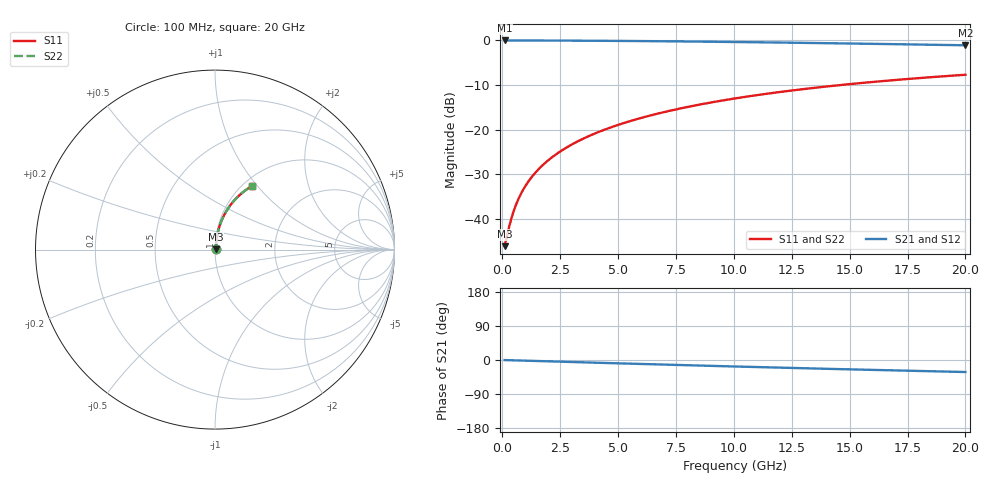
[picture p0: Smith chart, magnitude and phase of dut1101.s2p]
! Touchstone file exported from HFSS 2024.1.0
!  File:  C:/UserFiles/LocalFiles/RDL_TSV_Batchsim/temp_RDL_top_1101_1780046326.aedt
!  Generated:  05:20:56 PM May 29, 2026
!  Design:  RDL_top
!  Project:  temp_RDL_top_1101_1780046326
!  Setup:  Setup1
!  Solution:  Sweep
! Variables:
!  dtsv = 10.80580581um
!  hbump = 3um
!  htsv = 96.35um
!  ldown = 100um
!  lrdl = 333.96um
!  p = 40
!  p1 = 55.93um
!  rhole = 1um
!  t = 450um
!  tdown = 3.915915916um
!  trdl = 2.66um
!  wdown = 15.38538539um
!  wrdl = 10.36um
# GHz S MA R 50.000000
! Terminal data exported
! Port[1] = Box2_T1
! Port[2] = Box2_T2
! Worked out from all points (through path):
!   200 points, 100 MHz to 20 GHz, reference 50 ohm
!   highest |S21| = -0.04 dB at 100 MHz (marker M1); lowest = -1.1 dB at 20 GHz (marker M2)
!   group delay of S21, straight-line fit = 4.41 ps
!   lowest |S11| = -46.0 dB at 100 MHz (marker M3), VSWR 1.01, Z = 50.4 + j0.235 ohm
!   |S11| at or under -10 dB: start of sweep to 14.62 GHz
!   |S22| runs from -46.0 to -7.7 dB; largest |S21 - S12| = 2e-15
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0.1  0.004992 27.8  0.9956 -0.2  0.9956 -0.2  0.004992 27.8
! Gamma 0 0 0 0
! Port Impedance 50 0 50 0
0.3  0.008308 57.1  0.9955 -0.5  0.9955 -0.5  0.008308 57.1
0.4  0.01036 63.7  0.9954 -0.7  0.9954 -0.7  0.01036 63.7
0.5  0.0125 67.9  0.9953 -0.9  0.9953 -0.9  0.0125 67.9
0.6  0.01468 70.9  0.9952 -1.1  0.9952 -1.1  0.01468 70.9
0.7  0.01689 73.0  0.9951 -1.3  0.9951 -1.3  0.01688 73.0
0.9  0.02133 75.9  0.9949 -1.6  0.9949 -1.6  0.02132 75.9
1.2  0.02802 78.3  0.9945 -2.2  0.9945 -2.2  0.02801 78.3
1.4  0.03248 79.3  0.9942 -2.5  0.9942 -2.5  0.03248 79.3
1.7  0.03919 80.2  0.9938 -3.0  0.9938 -3.0  0.03918 80.2
2.2  0.05039 81.0  0.9928 -3.9  0.9928 -3.9  0.05038 81.0
2.8  0.06385 81.3  0.9915 -5.0  0.9915 -5.0  0.06385 81.3
3.5  0.07958 81.2  0.9896 -6.2  0.9896 -6.2  0.07958 81.2
4.2  0.0953 80.7  0.9873 -7.4  0.9873 -7.4  0.0953 80.7
5  0.1132 80.0  0.9843 -8.8  0.9843 -8.8  0.1132 80.0
5.9  0.1334 79.0  0.9804 -10.3  0.9804 -10.3  0.1334 79.0
6.8  0.1533 77.9  0.9761 -11.8  0.9761 -11.8  0.1533 77.9
8.3  0.1863 76.0  0.9678 -14.3  0.9678 -14.3  0.1863 76.0
10.1  0.2249 73.4  0.9566 -17.2  0.9566 -17.2  0.2249 73.5
13.4  0.2925 68.7  0.9331 -22.3  0.9331 -22.3  0.2925 68.7
16.7  0.3549 64.1  0.907 -27.2  0.907 -27.2  0.355 64.1
20  0.4116 59.6  0.8793 -31.7  0.8793 -31.7  0.4117 59.7
